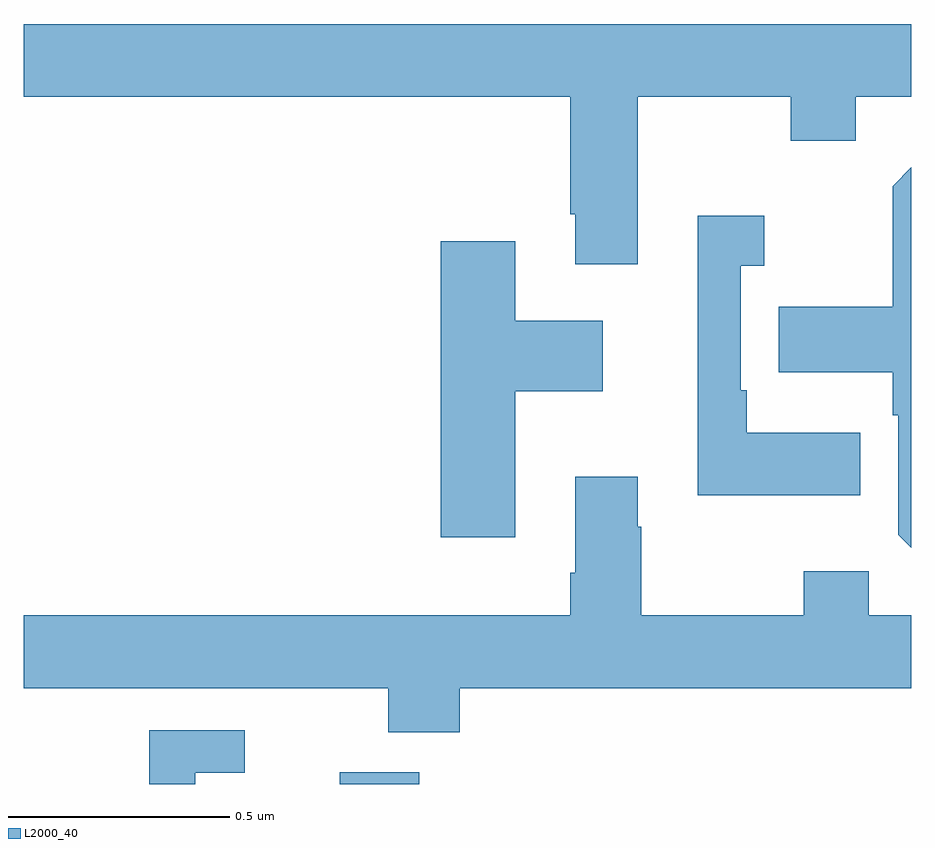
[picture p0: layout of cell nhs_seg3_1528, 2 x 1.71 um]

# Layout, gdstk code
import gdstk
lib = gdstk.Library(unit=1e-6, precision=1e-09)
def R(c, l, rs):  # rectangles x0, y0, x1, y1
    for r in rs: c.add(gdstk.rectangle(r[:2], r[2:], *l))
def P(c, l, *ps):  # polygons
    for p in ps: c.add(gdstk.Polygon(p, *l))
L2000_40 = (2000, 40)

nhs_seg3_1528 = lib.new_cell('nhs_seg3_1528')
R(nhs_seg3_1528, L2000_40, [(130.712,667.4,130.891,667.426)])
P(nhs_seg3_1528, L2000_40, [(131.383,668.948),(131.728,668.948),(131.728,668.849),(131.875,668.849),(131.875,668.948),(132,668.948),(132,669.112),(130,669.112),(130,668.948),(131.231,668.948),(131.231,668.683),(131.243,668.683),(131.243,668.571),(131.383,668.571)],
  [(132,668.789),(131.958,668.747),(131.958,668.475),(131.701,668.475),(131.701,668.327),(131.958,668.327),(131.958,668.231),(131.97,668.231),(131.97,667.962),(132,667.932)],
  [(131.885,668.191),(131.629,668.191),(131.629,668.287),(131.616,668.287),(131.616,668.567),(131.668,668.567),(131.668,668.68),(131.519,668.68),(131.519,668.051),(131.885,668.051)],
  [(131.107,668.285),(131.305,668.285),(131.305,668.443),(131.107,668.443),(131.107,668.623),(130.94,668.623),(130.94,667.956),(131.107,667.956)],
  [(130.982,667.616),(132,667.616),(132,667.78),(131.904,667.78),(131.904,667.879),(131.758,667.879),(131.758,667.78),(131.391,667.78),(131.391,667.979),(131.383,667.979),(131.383,668.092),(131.243,668.092),(131.243,667.876),(131.231,667.876),(131.231,667.78),(130,667.78),(130,667.616),(130.822,667.616),(130.822,667.517),(130.982,667.517)],
  [(130.387,667.425),(130.498,667.425),(130.498,667.521),(130.283,667.521),(130.283,667.4),(130.387,667.4)])

lib.write_gds('nhs_seg3_1528.gds')
